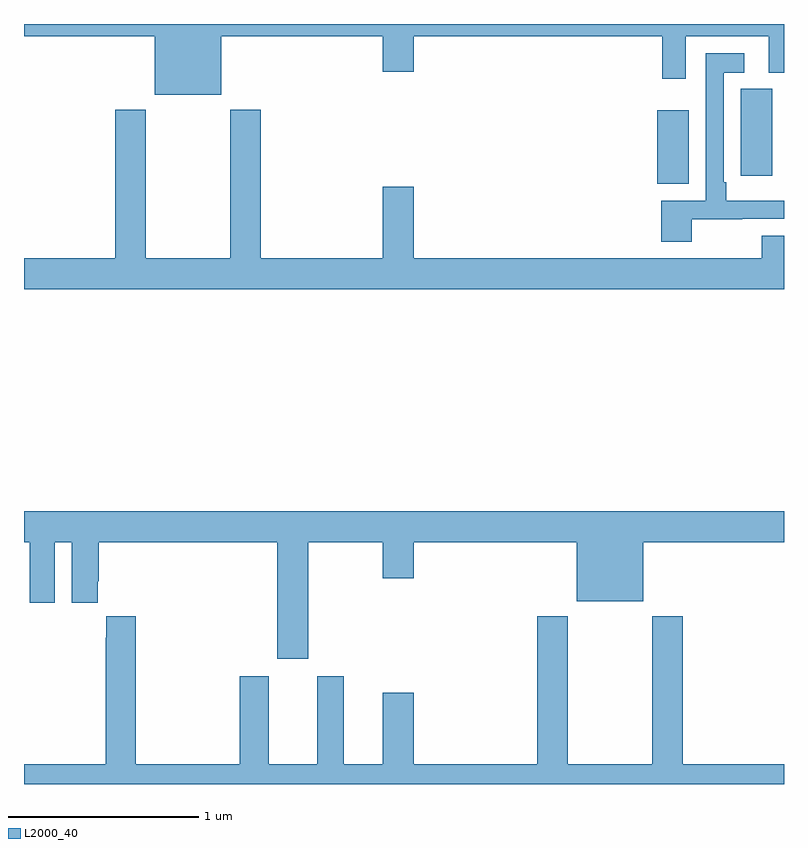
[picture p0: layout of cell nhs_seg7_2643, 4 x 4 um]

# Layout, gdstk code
import gdstk
lib = gdstk.Library(unit=1e-6, precision=1e-09)
def R(c, l, rs):  # rectangles x0, y0, x1, y1
    for r in rs: c.add(gdstk.rectangle(r[:2], r[2:], *l))
def P(c, l, *ps):  # polygons
    for p in ps: c.add(gdstk.Polygon(p, *l))
L2000_40 = (2000, 40)

nhs_seg7_2643 = lib.new_cell('nhs_seg7_2643')
R(nhs_seg7_2643, L2000_40, [(286.334,1013.159,286.498,1013.545), (286.772,1013.202,286.939,1013.659)])
P(nhs_seg7_2643, L2000_40, [(284.038,1013.936),(284.888,1013.936),(284.888,1013.748),(285.052,1013.748),(285.052,1013.936),(286.358,1013.936),(286.358,1013.712),(286.483,1013.712),(286.483,1013.936),(286.919,1013.936),(286.919,1013.744),(287,1013.744),(287,1014),(283,1014),(283,1013.936),(283.688,1013.936),(283.688,1013.627),(284.038,1013.627)],
  [(286.515,1012.973),(286.78,1012.973),(286.78,1012.974),(287,1012.974),(287,1013.071),(286.696,1013.071),(286.696,1013.167),(286.683,1013.167),(286.683,1013.744),(286.792,1013.744),(286.792,1013.845),(286.587,1013.845),(286.587,1013.07),(286.355,1013.07),(286.355,1012.854),(286.515,1012.854)],
  [(287,1012.885),(286.882,1012.885),(286.882,1012.768),(285.052,1012.768),(285.052,1013.143),(284.888,1013.143),(284.888,1012.768),(284.246,1012.768),(284.246,1013.548),(284.086,1013.548),(284.086,1012.768),(283.641,1012.768),(283.641,1013.548),(283.481,1013.548),(283.481,1012.768),(283,1012.768),(283,1012.604),(287,1012.604)],
  [(284.497,1011.272),(284.888,1011.272),(284.888,1011.084),(285.052,1011.084),(285.052,1011.272),(285.908,1011.272),(285.908,1010.963),(286.258,1010.963),(286.258,1011.272),(287,1011.272),(287,1011.436),(283,1011.436),(283,1011.272),(283.031,1011.272),(283.031,1010.955),(283.162,1010.955),(283.162,1011.272),(283.25,1011.272),(283.25,1010.955),(283.387,1010.955),(283.387,1011.067),(283.394,1011.067),(283.394,1011.272),(284.333,1011.272),(284.333,1010.658),(284.497,1010.658)],
  [(287,1010.104),(286.466,1010.104),(286.466,1010.884),(286.306,1010.884),(286.306,1010.104),(285.861,1010.104),(285.861,1010.884),(285.701,1010.884),(285.701,1010.104),(285.052,1010.104),(285.052,1010.479),(284.888,1010.479),(284.888,1010.104),(284.683,1010.104),(284.683,1010.566),(284.543,1010.566),(284.543,1010.104),(284.287,1010.104),(284.287,1010.566),(284.135,1010.566),(284.135,1010.104),(283.589,1010.104),(283.589,1010.884),(283.433,1010.884),(283.433,1010.771),(283.429,1010.771),(283.429,1010.104),(283,1010.104),(283,1010),(287,1010)])

lib.write_gds('nhs_seg7_2643.gds')
